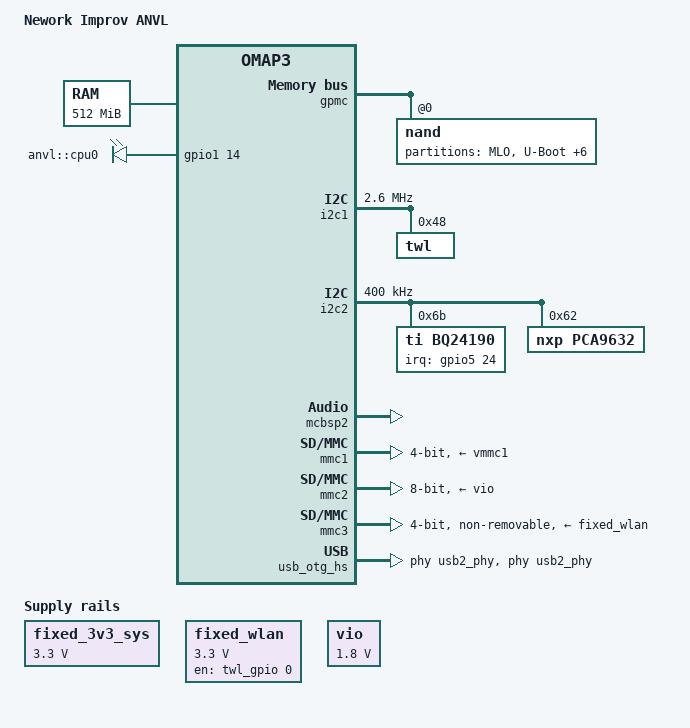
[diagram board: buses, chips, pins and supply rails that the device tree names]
/*
 * Copyright (C) 2013 Network Improv
 *
 * This program is free software; you can redistribute it and/or modify
 * it under the terms of the GNU General Public License version 2 as
 * published by the Free Software Foundation.
 */
/dts-v1/;

#include "omap36xx.dtsi"

/ {
	model = "Nework Improv ANVL";
	compatible = "ti,omap3-anvl", "ti,omap36xx", "ti,omap3";

	cpus {
		cpu@0 {
			cpu0-supply = <&vcc>;
		};
	};

	memory {
		device_type = "memory";
		reg = <0x80000000 0x20000000>;	/* 512 MB */
	};

	/*
	 * TPS73733QDRBRQ1 enabled automatically by TWL REGEN pin if
	 * TWL is powered, or if there is power to VBUS
	 */
	fixed_3v3_sys: fixed_3v3_sys {
		compatible = "regulator-fixed";
		regulator-name = "3v3_sys";
		regulator-min-microvolt = <3300000>;
		regulator-max-microvolt = <3300000>;
		regulator-always-on;
	};

	fixed_wlan: fixed_wlan {
		compatible = "regulator-fixed";
		regulator-name = "fixed_wlan";
		regulator-min-microvolt = <3300000>;
		regulator-max-microvolt = <3300000>;
		enable-active-high;
		gpio = <&twl_gpio 0 GPIO_ACTIVE_HIGH>;	/* twl_gpio0 */
	};

	leds {
		compatible = "gpio-leds";
		heartbeat {
			label = "anvl::cpu0";
			gpios = <&gpio1 14 GPIO_ACTIVE_HIGH>;	/* gpio14 */
			linux,default-trigger = "cpu0";
		};
	};

	sound {
		compatible = "ti,omap-twl4030";
		ti,model = "anvl";

		ti,mcbsp = <&mcbsp2>;
		ti,codec = <&twl_audio>;
		ti,audio-routing =
			"Handsfree Spk", "HFL";
	};
};

&omap3_pmx_core {
	mmc1_pins: pinmux_mmc1_pins {
		pinctrl-single,pins = <
			OMAP3_CORE1_IOPAD(0x2144, PIN_OUTPUT_PULLUP | MUX_MODE0)	/* sdmmc1_clk.sdmmc1_clk */
			OMAP3_CORE1_IOPAD(0x2146, PIN_OUTPUT_PULLUP | MUX_MODE0)	/* sdmmc1_cmd.sdmmc1_cmd */
			OMAP3_CORE1_IOPAD(0x2148, PIN_INPUT_PULLUP | MUX_MODE0)		/* sdmmc1_dat0.sdmmc1_dat0 */
			OMAP3_CORE1_IOPAD(0x214a, PIN_INPUT_PULLUP | MUX_MODE0)		/* sdmmc1_dat0.sdmmc1_dat1 */
			OMAP3_CORE1_IOPAD(0x214c, PIN_INPUT_PULLUP | MUX_MODE0)		/* sdmmc1_dat0.sdmmc1_dat2 */
			OMAP3_CORE1_IOPAD(0x214e, PIN_INPUT_PULLUP | MUX_MODE0)		/* sdmmc1_dat0.sdmmc1_dat3 */
		>;
	};

	mmc2_pins: pinmux_mmc2_pins {
		pinctrl-single,pins = <
			OMAP3_CORE1_IOPAD(0x2158, PIN_INPUT_PULLUP | MUX_MODE0)		/* sdmmc2_clk.sdmmc2_clk */
			OMAP3_CORE1_IOPAD(0x215a, PIN_INPUT_PULLUP | MUX_MODE0)		/* sdmmc2_cmd.sdmmc2_cmd */
			OMAP3_CORE1_IOPAD(0x215c, PIN_INPUT | MUX_MODE0)		/* sdmmc2_dat0.sdmmc2_dat0 */
			OMAP3_CORE1_IOPAD(0x215e, PIN_INPUT | MUX_MODE0)		/* sdmmc2_dat1.sdmmc2_dat1 */
			OMAP3_CORE1_IOPAD(0x2160, PIN_INPUT | MUX_MODE0)		/* sdmmc2_dat2.sdmmc2_dat2 */
			OMAP3_CORE1_IOPAD(0x2162, PIN_INPUT | MUX_MODE0)		/* sdmmc2_dat3.sdmmc2_dat3 */
			OMAP3_CORE1_IOPAD(0x2164, PIN_INPUT | MUX_MODE0)		/* sdmmc2_dat4.sdmmc2_dat4 */
			OMAP3_CORE1_IOPAD(0x2166, PIN_INPUT | MUX_MODE0)		/* sdmmc2_dat5.sdmmc2_dat5 */
			OMAP3_CORE1_IOPAD(0x2168, PIN_INPUT | MUX_MODE0)		/* sdmmc2_dat6.sdmmc2_dat6 */
			OMAP3_CORE1_IOPAD(0x216a, PIN_INPUT | MUX_MODE0)		/* sdmmc2_dat7.sdmmc2_dat7 */
		>;
	};

	mmc3_pins: pinmux_mmc3_pins {
		pinctrl-single,pins = <
			OMAP3_CORE1_IOPAD(0x21d4, PIN_INPUT | MUX_MODE4)		/* mcspi1_cs3.gpio_177 WLAN_SLEEP */
			OMAP3_CORE1_IOPAD(0x2186, MUX_MODE4)				/* mcbsp4_dr.gpio_153 WLAN_WKUP */
			OMAP3_CORE1_IOPAD(0x21d2, MUX_MODE4)				/* mcspi1_cs2.gpio_176 WLAN_EEPROM_WP */
		>;
	};

	musb_pins: pinmux_musb_pins {
		pinctrl-single,pins = <
			OMAP3_CORE1_IOPAD(0x21a2, PIN_INPUT | MUX_MODE0)	/* hsusb0_clk.hsusb0_clk */
			OMAP3_CORE1_IOPAD(0x21aa, PIN_INPUT | MUX_MODE0)	/* hsusb0_data0.hsusb0_data0 */
			OMAP3_CORE1_IOPAD(0x21ac, PIN_INPUT | MUX_MODE0)	/* hsusb0_data1.hsusb0_data1 */
			OMAP3_CORE1_IOPAD(0x21ae, PIN_INPUT | MUX_MODE0)	/* hsusb0_data2.hsusb0_data2 */
			OMAP3_CORE1_IOPAD(0x21b0, PIN_INPUT | MUX_MODE0)	/* hsusb0_data3.hsusb0_data3 */
			OMAP3_CORE1_IOPAD(0x21b2, PIN_INPUT | MUX_MODE0)	/* hsusb0_data4.hsusb0_data4 */
			OMAP3_CORE1_IOPAD(0x21b4, PIN_INPUT | MUX_MODE0)	/* hsusb0_data5.hsusb0_data5 */
			OMAP3_CORE1_IOPAD(0x21b6, PIN_INPUT | MUX_MODE0)	/* hsusb0_data6.hsusb0_data6 */
			OMAP3_CORE1_IOPAD(0x21b8, PIN_INPUT | MUX_MODE0)	/* hsusb0_data7.hsusb0_data7 */
			OMAP3_CORE1_IOPAD(0x21a6, PIN_INPUT | MUX_MODE0)	/* hsusb0_dir.hsusb0_dir */
			OMAP3_CORE1_IOPAD(0x21a8, PIN_INPUT | MUX_MODE0)	/* hsusb0_nxt.hsusb0_nxt */
			OMAP3_CORE1_IOPAD(0x21a4, PIN_OUTPUT | MUX_MODE0)	/* hsusb0_stp.hsusb0_stp */
		>;
	};

	uart1_pins: pinmux_uart1_pins {
		pinctrl-single,pins = <
			OMAP3_CORE1_IOPAD(0x217c, PIN_OUTPUT | MUX_MODE0)	/* uart1_tx.uart1_tx */
			OMAP3_CORE1_IOPAD(0x217e, PIN_OUTPUT | MUX_MODE0)	/* uart1_rts.uart1_rts */
			OMAP3_CORE1_IOPAD(0x2180, PIN_INPUT_PULLUP | MUX_MODE0)	/* uart1_cts.uart1_cts */
			OMAP3_CORE1_IOPAD(0x2182, PIN_INPUT_PULLUP | MUX_MODE0)	/* uart1_rx.uart1_rx */
		>;
	};

	uart3_pins: pinmux_uart3_pins {
		pinctrl-single,pins = <
			OMAP3_CORE1_IOPAD(0x219e, PIN_INPUT | MUX_MODE0)		/* uart3_rx_irrx.uart3_rx_irrx */
			OMAP3_CORE1_IOPAD(0x21a0, PIN_OUTPUT | MUX_MODE0)		/* uart3_tx_irtx.uart3_tx_irtx */
		>;
	};
};

&omap3_pmx_core2 {
	mmc3_core2_pins: pinmux_mmc3_core2_pins {
		pinctrl-single,pins = <
			OMAP3630_CORE2_IOPAD(0x25d4, PIN_OFF_INPUT_PULLUP | PIN_INPUT_PULLUP | MUX_MODE2)	/* etk_clk.sdmmc3_clk */
			OMAP3630_CORE2_IOPAD(0x25da, PIN_OFF_INPUT_PULLUP | PIN_INPUT_PULLUP | MUX_MODE2)	/* etk_clk.sdmmc3_cmd */
			OMAP3630_CORE2_IOPAD(0x25e2, PIN_OFF_INPUT_PULLUP | PIN_INPUT_PULLUP | MUX_MODE2)	/* etk_d3.sdmmc3_dat3 */
			OMAP3630_CORE2_IOPAD(0x25e4, PIN_OFF_INPUT_PULLUP | PIN_INPUT_PULLUP | MUX_MODE2)	/* etk_d4.sdmmc3_dat0 */
			OMAP3630_CORE2_IOPAD(0x25e6, PIN_INPUT_PULLUP | MUX_MODE2)				/* etk_d5.sdmmc3_dat1 */
			OMAP3630_CORE2_IOPAD(0x25e8, PIN_OFF_INPUT_PULLUP | PIN_INPUT_PULLUP | MUX_MODE2)	/* etk_d6.sdmmc3_dat2 */
		>;
	};
};

&omap3_pmx_wkup {
	wlan_host_wkup: pinmux_wlan_host_wkup_pins {
		pinctrl-single,pins = <
			OMAP3_WKUP_IOPAD(0x2a1a, PIN_INPUT_PULLUP | MUX_MODE4)		/* sys_clkout1.gpio_10 WLAN_HOST_WKUP */
		>;
	};
};

&gpmc {
	ranges = <0 0 0x00000000 0x1000000>;

	nand@0,0 {
		linux,mtd-name = "micron,mt29c4g96maz";

		reg = <0 0 4>;
		nand-bus-width = <16>;
		ti,nand-ecc-opt = "bch8";

		gpmc,device-width = <2>;
		gpmc,sync-clk-ps = <0>;
		gpmc,cs-on-ns = <0>;
		gpmc,cs-rd-off-ns = <44>;
		gpmc,cs-wr-off-ns = <44>;
		gpmc,adv-on-ns = <6>;
		gpmc,adv-rd-off-ns = <34>;
		gpmc,adv-wr-off-ns = <44>;
		gpmc,we-off-ns = <40>;
		gpmc,oe-off-ns = <54>;
		gpmc,access-ns = <64>;
		gpmc,rd-cycle-ns = <82>;
		gpmc,wr-cycle-ns = <82>;
		gpmc,wr-access-ns = <40>;
		gpmc,wr-data-mux-bus-ns = <0>;

		#address-cells = <1>;
		#size-cells = <1>;

		partition@0 {
			label = "MLO";
			reg = <0 0x100000>;
		};
		partition@100000 {
			label = "U-Boot";
			reg = <0x100000 0x180000>;
		};
		partition@280000 {
			label = "U-Boot Environment";
			reg = <0x280000 0x100000>;
		};
		partition@380000 {
			label = "DTB";
			reg = <0x380000 0x200000>;
		};
		partition@580000 {
			label = "Kernel";
			reg = <0x580000 0x800000>;
		};
		partition@d80000 {
			label = "Initrd";
			reg = <0xd80000 0x1400000>;
		};
		partition@2180000 {
			label = "MTD Oops";
			reg = <0x2180000 0x100000>;
		};
		partition@2280000 {
			label = "Filesystem";
			reg = <0x2280000 0x1dd80000>;
		};
	};
};

&i2c1 {
	clock-frequency = <2600000>;

	twl: twl@48 {
		reg = <0x48>;
		interrupts = <7>;	/* SYS_NIRQ */
		interrupt-parent = <&intc>;

		twl_audio: audio {
			compatible = "ti,twl4030-audio";
			codec {
			};
		};

		twl_power: power {
			compatible = "ti,twl4030-power-idle-osc-off";
			ti,use_poweroff;
		};
	};
};

&i2c2 {
	clock-frequency = <400000>;

	bq24190: charger@6b {
		reg = <0x6b>;
		compatible = "ti,bq24190";
		interrupt-parent = <&gpio5>;
		interrupts = <24 IRQ_TYPE_LEVEL_LOW>;	/* gpio152 */
	};
};

#include "twl4030.dtsi"
#include "twl4030_omap3.dtsi"

&i2c2 {
	clock-frequency = <400000>;

	pca9632: pca9632 {
		compatible = "nxp,pca9632", "nxp,pca963x";
		#address-cells = <1>;
		#size-cells = <0>;
		reg = <0x62>;
		nxp,hw-blink;

		red@0 {
			label = "red";
			reg = <0>;
			linux,default-trigger = "none";
		};
		green@1 {
			label = "green";
			reg = <1>;
			linux,default-trigger = "none";
		};
		blue@2 {
			label = "blue";
			reg = <2>;
			linux,default-trigger = "none";
		};
		unused@3 {
			label = "unused";
			reg = <3>;
			linux,default-trigger = "none";
		};
	};
};

&mcbsp2 {
	status = "okay";
};

&mmc1 {
	vmmc-supply = <&vmmc1>;
	bus-width = <4>;
	pinctrl-names = "default";
	pinctrl-0 = <&mmc1_pins>;
};

&mmc2 {
	vmmc-supply = <&vio>;
	ti,non-removable;
	bus-width = <8>;
	pinctrl-0 = <&mmc2_pins>;
	pinctrl-names = "default";
};

&mmc3 {
	interrupts-extended = <&intc 94 &omap3_pmx_core2 0x46>;
	vmmc-supply = <&fixed_wlan>;
	non-removable;
	bus-width = <4>;
	cap-power-off-card;
	ti,cirq-gpio = <&gpio1 19 0>;	/* gpio19 */
	pinctrl-0 = <&mmc3_pins &mmc3_core2_pins &wlan_host_wkup>;
	pinctrl-names = "default";
};

&uart1 {
	interrupts-extended = <&intc 72 &omap3_pmx_core OMAP3_UART1_RX>;
	pinctrl-0 = <&uart1_pins>;
	pinctrl-names = "default";
};

&uart3 {
	interrupts-extended = <&intc 74 &omap3_pmx_core OMAP3_UART3_RX>;
	pinctrl-0 = <&uart3_pins>;
	pinctrl-names = "default";
};

&usbhshost {
	status = "disabled";
};

&usb_otg_hs {
	pinctrl-0 = <&musb_pins>;
	pinctrl-names = "default";
	interface-type = <0>;
	usb-phy = <&usb2_phy>;
	phys = <&usb2_phy>;
	phy-names = "usb2-phy";
	mode = <3>;
	power = <250>;
};

&vio {
	regulator-min-microvolt = <1800000>;
	regulator-max-microvolt = <1800000>;
};
